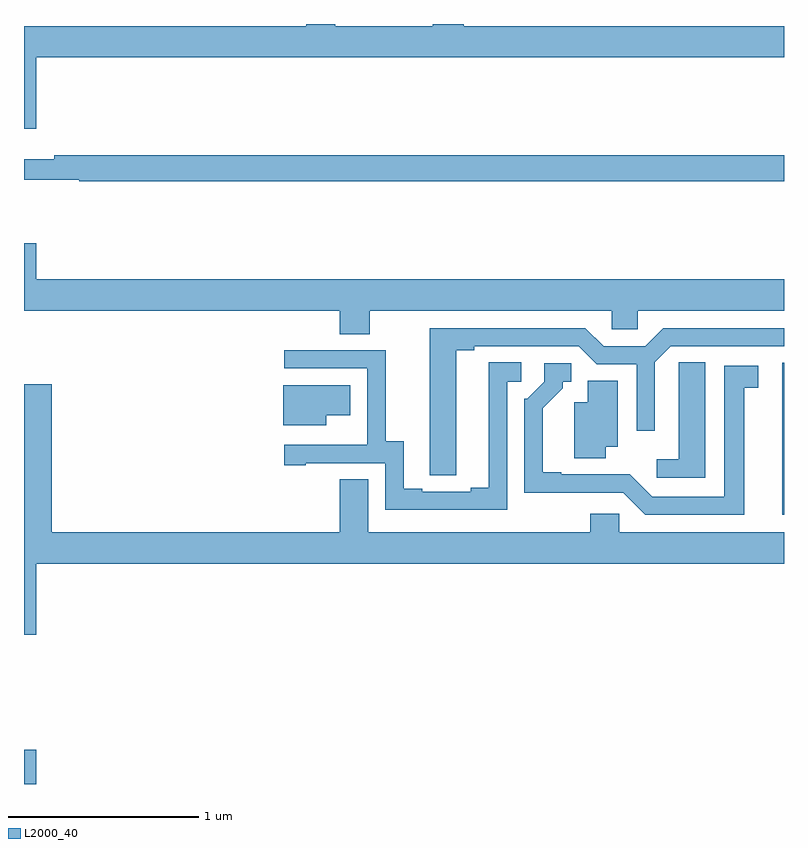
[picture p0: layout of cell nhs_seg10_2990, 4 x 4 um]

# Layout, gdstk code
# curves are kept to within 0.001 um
import gdstk
lib = gdstk.Library(unit=1e-6, precision=1e-09)
def R(c, l, rs):  # rectangles x0, y0, x1, y1
    for r in rs: c.add(gdstk.rectangle(r[:2], r[2:], *l))
def P(c, l, *ps):  # polygons
    for p in ps: c.add(gdstk.Polygon(p, *l))
L2000_40 = (2000, 40)

nhs_seg10_2990 = lib.new_cell('nhs_seg10_2990')
R(nhs_seg10_2990, L2000_40, [(273,1288.5,273.064,1288.681), (276.992,1289.916,277,1290.718)])
P(nhs_seg10_2990, L2000_40, [(273.064,1292.324),(277,1292.324),(277,1292.488),(275.315,1292.488),(275.315,1292.5),(275.15,1292.5),(275.15,1292.488),(274.637,1292.488),(274.637,1292.5),(274.485,1292.5),(274.485,1292.488),(273,1292.488),(273,1291.95),(273.064,1291.95)],
  [(277,1291.808),(273.16,1291.808),(273.16,1291.789),(273,1291.789),(273,1291.68),(273.291,1291.68),(273.291,1291.672),(277,1291.672)],
  [(274.821,1290.992),(276.093,1290.992),(276.093,1290.894),(276.231,1290.894),(276.231,1290.992),(277,1290.992),(277,1291.156),(273.064,1291.156),(273.064,1291.345),(273,1291.345),(273,1290.992),(274.661,1290.992),(274.661,1290.868),(274.821,1290.868)],
  [(275.275,1290.784),(275.371,1290.784),(275.371,1290.804),(275.919,1290.804),(276.015,1290.708),(276.225,1290.708),(276.225,1290.36),(276.321,1290.36),(276.321,1290.72),(276.405,1290.804),(277,1290.804),(277,1290.9),(276.365,1290.9),(276.269,1290.804),(276.051,1290.804),(275.955,1290.9),(275.135,1290.9),(275.136,1290.124),(275.275,1290.124)],
  [(275.544,1290.618),(275.617,1290.618),(275.617,1290.719),(275.447,1290.719),(275.447,1290.059),(275.351,1290.059),(275.351,1290.039),(275.095,1290.039),(275.095,1290.054),(274.999,1290.054),(274.999,1290.305),(274.905,1290.305),(274.905,1290.783),(274.371,1290.783),(274.371,1290.687),(274.806,1290.687),(274.806,1290.286),(274.805,1290.286),(274.805,1290.285),(274.371,1290.285),(274.371,1290.177),(274.483,1290.177),(274.483,1290.189),(274.902,1290.189),(274.902,1289.943),(275.544,1289.943)],
  [(276.586,1290.719),(276.447,1290.719),(276.447,1290.611),(276.446,1290.611),(276.446,1290.208),(276.33,1290.208),(276.33,1290.111),(276.586,1290.111)],
  [(276.79,1290.586),(276.865,1290.586),(276.865,1290.702),(276.686,1290.702),(276.686,1290.012),(276.306,1290.012),(276.188,1290.13),(275.827,1290.129),(275.827,1290.142),(275.731,1290.142),(275.731,1290.478),(275.836,1290.583),(275.836,1290.618),(275.881,1290.618),(275.881,1290.714),(275.739,1290.714),(275.739,1290.618),(275.649,1290.528),(275.634,1290.528),(275.634,1290.032),(276.153,1290.033),(276.27,1289.916),(276.79,1289.916)],
  [(276.061,1290.275),(276.124,1290.275),(276.124,1290.623),(275.966,1290.623),(275.966,1290.508),(275.897,1290.508),(275.897,1290.214),(276.061,1290.214)],
  [(273.064,1289.66),(277,1289.66),(277,1289.824),(276.132,1289.824),(276.132,1289.922),(275.981,1289.922),(275.981,1289.824),(274.813,1289.824),(274.813,1290.104),(274.661,1290.104),(274.661,1289.824),(273.146,1289.824),(273.146,1290.604),(273,1290.604),(273,1289.286),(273.064,1289.286)],
  [(274.591,1290.44),(274.717,1290.44),(274.717,1290.598),(274.364,1290.598),(274.364,1290.389),(274.591,1290.389)])

lib.write_gds('nhs_seg10_2990.gds')
